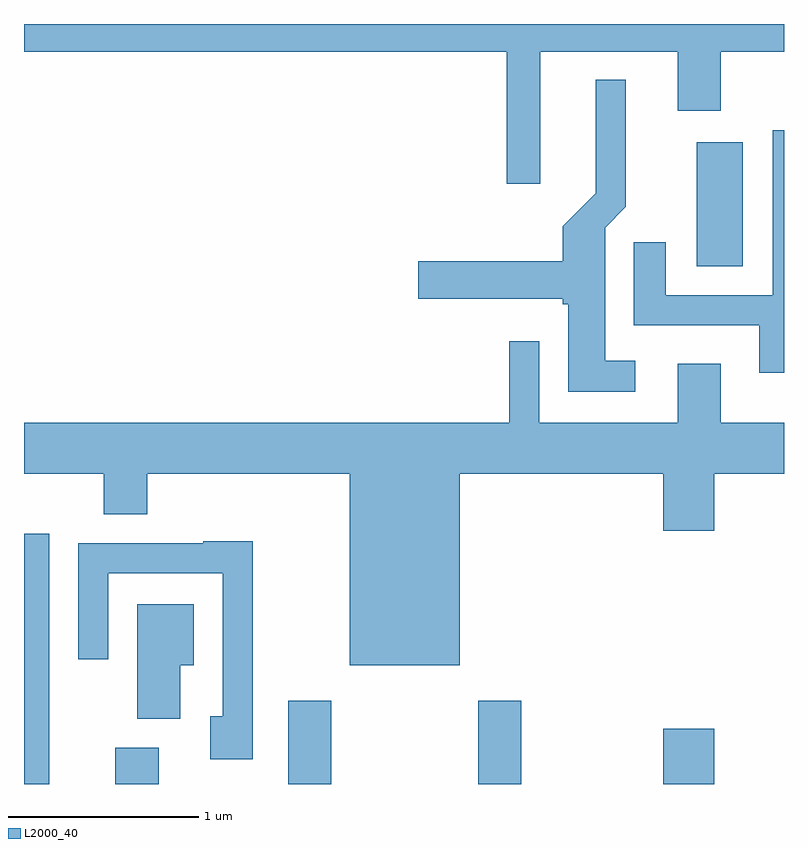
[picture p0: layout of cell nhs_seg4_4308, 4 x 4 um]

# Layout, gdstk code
import gdstk
lib = gdstk.Library(unit=1e-6, precision=1e-09)
def R(c, l, rs):  # rectangles x0, y0, x1, y1
    for r in rs: c.add(gdstk.rectangle(r[:2], r[2:], *l))
def P(c, l, *ps):  # polygons
    for p in ps: c.add(gdstk.Polygon(p, *l))
L2000_40 = (2000, 40)

nhs_seg4_4308 = lib.new_cell('nhs_seg4_4308')
R(nhs_seg4_4308, L2000_40, [(311.611,1301.982,311.744,1303.299), (312.091,1301.982,312.319,1302.174), (313.001,1301.982,313.229,1302.419), (314.001,1301.982,314.229,1302.419), (314.976,1301.982,315.244,1302.274), (315.151,1304.706,315.394,1305.359)])
P(nhs_seg4_4308, L2000_40, [(314.329,1305.836),(315.051,1305.836),(315.051,1305.526),(315.279,1305.526),(315.279,1305.836),(315.611,1305.836),(315.611,1305.982),(311.611,1305.982),(311.611,1305.836),(314.151,1305.836),(314.151,1305.141),(314.329,1305.141)],
  [(314.828,1304.209),(314.669,1304.209),(314.669,1304.909),(314.779,1305.019),(314.779,1305.688),(314.621,1305.688),(314.621,1305.092),(314.446,1304.917),(314.446,1304.734),(313.686,1304.734),(313.686,1304.536),(314.446,1304.536),(314.446,1304.506),(314.476,1304.506),(314.476,1304.046),(314.828,1304.046)],
  [(315.611,1305.424),(315.551,1305.424),(315.551,1304.554),(314.989,1304.554),(314.989,1304.833),(314.821,1304.833),(314.821,1304.396),(315.481,1304.396),(315.481,1304.146),(315.611,1304.146)],
  [(313.904,1303.616),(314.976,1303.616),(314.976,1303.316),(315.244,1303.316),(315.244,1303.616),(315.611,1303.616),(315.611,1303.884),(315.279,1303.884),(315.279,1304.194),(315.051,1304.194),(315.051,1303.884),(314.324,1303.884),(314.324,1304.313),(314.166,1304.313),(314.166,1303.884),(311.611,1303.884),(311.611,1303.616),(312.031,1303.616),(312.031,1303.401),(312.259,1303.401),(312.259,1303.616),(313.326,1303.616),(313.326,1302.606),(313.904,1302.606)],
  [(312.814,1303.259),(312.555,1303.259),(312.555,1303.249),(311.896,1303.249),(311.896,1302.638),(312.054,1302.638),(312.054,1303.091),(312.656,1303.091),(312.656,1302.339),(312.591,1302.339),(312.591,1302.111),(312.814,1302.111)],
  [(312.434,1302.606),(312.504,1302.606),(312.504,1302.929),(312.206,1302.929),(312.206,1302.326),(312.434,1302.326)])

lib.write_gds('nhs_seg4_4308.gds')
